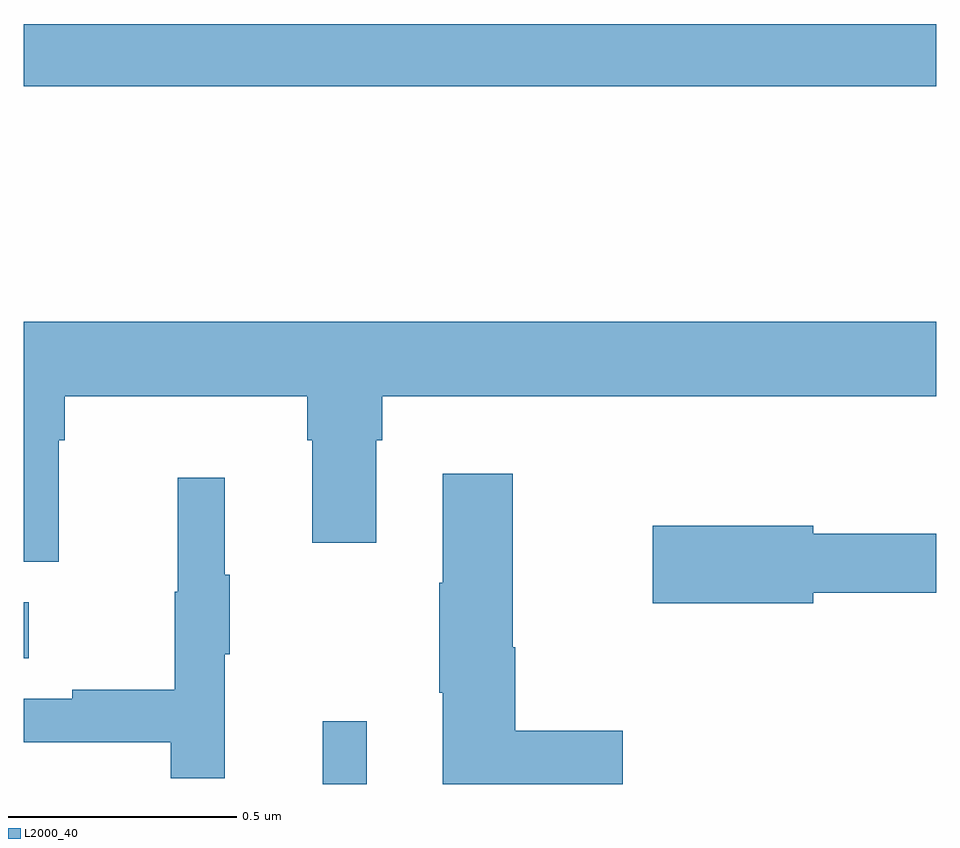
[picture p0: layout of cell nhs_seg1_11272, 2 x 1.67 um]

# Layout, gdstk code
import gdstk
lib = gdstk.Library(unit=1e-6, precision=1e-09)
def R(c, l, rs):  # rectangles x0, y0, x1, y1
    for r in rs: c.add(gdstk.rectangle(r[:2], r[2:], *l))
def P(c, l, *ps):  # polygons
    for p in ps: c.add(gdstk.Polygon(p, *l))
L2000_40 = (2000, 40)

nhs_seg1_11272 = lib.new_cell('nhs_seg1_11272')
R(nhs_seg1_11272, L2000_40, [(251.655,568.199,251.752,568.336), (251,568.475,251.011,568.597), (251,569.728,253,569.864)])
P(nhs_seg1_11272, L2000_40, [(251.077,568.952),(251.09,568.952),(251.09,569.048),(251.621,569.048),(251.621,568.952),(251.633,568.952),(251.633,568.728),(251.773,568.728),(251.773,568.952),(251.786,568.952),(251.786,569.048),(253,569.048),(253,569.212),(251,569.212),(251,568.686),(251.077,568.686)],
  [(252.313,568.316),(252.077,568.316),(252.077,568.499),(252.072,568.499),(252.072,568.879),(251.918,568.879),(251.918,568.64),(251.911,568.64),(251.911,568.399),(251.918,568.399),(251.918,568.199),(252.313,568.199)],
  [(251.441,568.483),(251.452,568.483),(251.452,568.657),(251.441,568.657),(251.441,568.87),(251.338,568.87),(251.338,568.62),(251.331,568.62),(251.331,568.406),(251.107,568.406),(251.107,568.386),(251,568.386),(251,568.29),(251.323,568.29),(251.323,568.212),(251.441,568.212)],
  [(252.73,568.618),(253,568.618),(253,568.747),(252.73,568.747),(252.73,568.765),(252.378,568.765),(252.378,568.595),(252.73,568.595)])

lib.write_gds('nhs_seg1_11272.gds')
